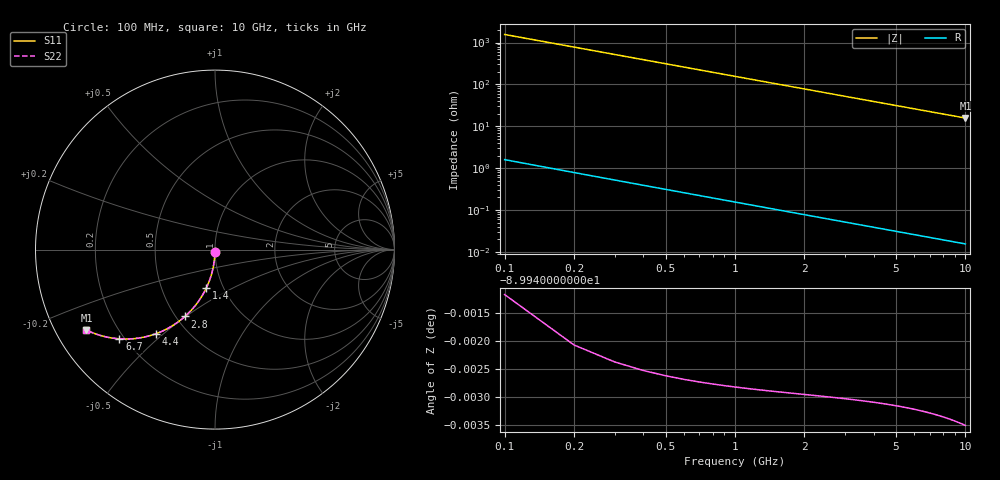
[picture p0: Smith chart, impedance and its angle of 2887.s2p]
# Hz S RI R 50.00
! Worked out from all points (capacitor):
!   100 points, 100 MHz to 10 GHz, reference 50 ohm
!   read as one part in shunt: C = 1.02 pF near 100 MHz
!   lowest |Z| = 15.8 ohm at 10 GHz (marker M1)
!   S11 on the Smith chart (normalised r, x): 100 MHz: 1.00, -0.03; 1.4 GHz: 0.83, -0.37; 2.8 GHz: 0.55, -0.50; 4.4 GHz: 0.34, -0.47; 6.7 GHz: 0.18, -0.38; 10 GHz: 0.09, -0.28
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1e8  -0.000266 -0.016  0.9997 -0.0161  0.9997 -0.0161  -0.000266 -0.016
2e8  -0.00105 -0.032  0.9989 -0.0321  0.9989 -0.0321  -0.00105 -0.032
3e8  -0.00235 -0.0479  0.9976 -0.0481  0.9976 -0.0481  -0.00235 -0.0479
4e8  -0.00416 -0.0638  0.9958 -0.064  0.9958 -0.064  -0.00416 -0.0638
5e8  -0.00646 -0.0796  0.9935 -0.0798  0.9935 -0.0798  -0.00646 -0.0796
6e8  -0.00926 -0.0952  0.9907 -0.0954  0.9907 -0.0954  -0.00926 -0.0952
7e8  -0.0125 -0.1107  0.9874 -0.111  0.9874 -0.111  -0.0125 -0.1107
9e8  -0.0205 -0.1412  0.9795 -0.1415  0.9795 -0.1415  -0.0205 -0.1412
1.1e9  -0.0303 -0.1708  0.9697 -0.1712  0.9697 -0.1712  -0.0303 -0.1708
1.4e9  -0.0481 -0.2133  0.9519 -0.2138  0.9519 -0.2138  -0.0481 -0.2133
1.8e9  -0.077 -0.2658  0.923 -0.2665  0.923 -0.2665  -0.077 -0.2658
2.3e9  -0.1197 -0.3237  0.8803 -0.3246  0.8803 -0.3246  -0.1197 -0.3237
2.8e9  -0.1675 -0.3724  0.8324 -0.3735  0.8324 -0.3735  -0.1675 -0.3724
3.4e9  -0.2285 -0.4187  0.7714 -0.4201  0.7714 -0.4201  -0.2285 -0.4187
3.9e9  -0.2802 -0.4478  0.7198 -0.4493  0.7198 -0.4493  -0.2802 -0.4478
4.4e9  -0.331 -0.4692  0.669 -0.4709  0.669 -0.4709  -0.331 -0.4692
5.1e9  -0.3989 -0.4882  0.6011 -0.4902  0.6011 -0.4902  -0.3989 -0.4882
5.9e9  -0.4699 -0.4974  0.5301 -0.4997  0.5301 -0.4997  -0.4699 -0.4974
6.7e9  -0.5329 -0.4971  0.4671 -0.4997  0.4671 -0.4997  -0.5329 -0.4971
7.5e9  -0.588 -0.4902  0.412 -0.4932  0.412 -0.4932  -0.588 -0.4902
8.4e9  -0.6412 -0.4775  0.3588 -0.4808  0.3588 -0.4808  -0.6412 -0.4775
1e10  -0.7164 -0.4483  0.2836 -0.4522  0.2836 -0.4522  -0.7164 -0.4483
